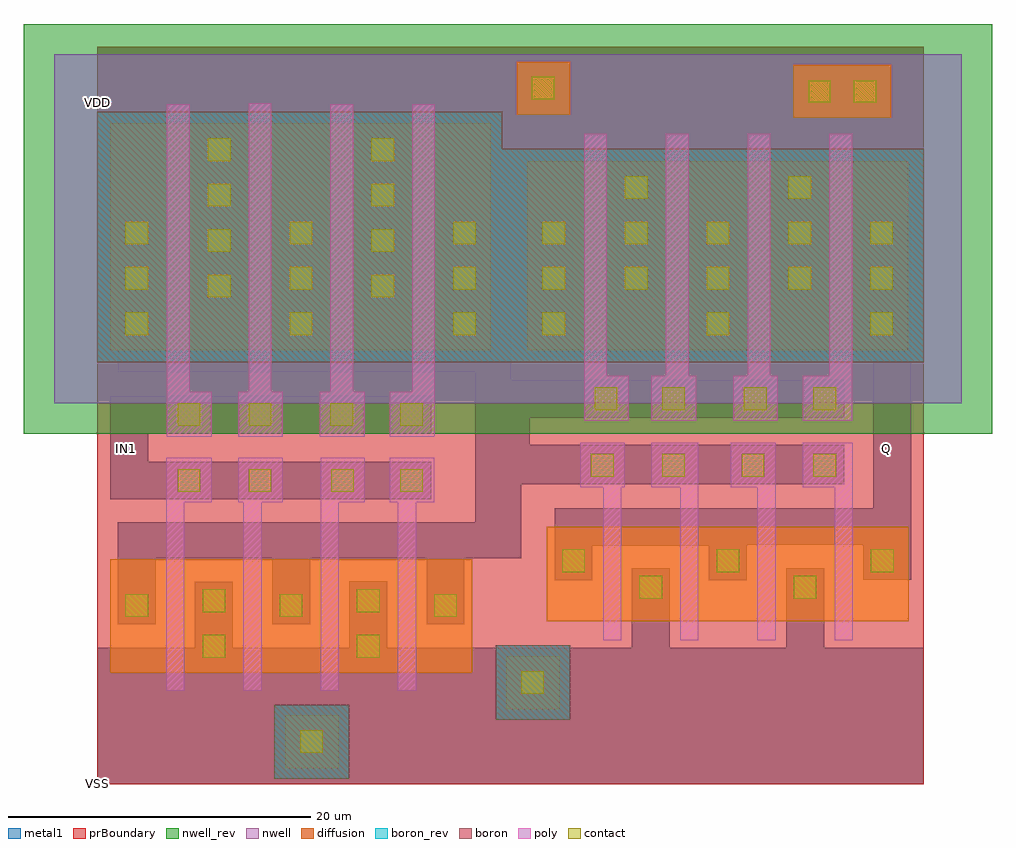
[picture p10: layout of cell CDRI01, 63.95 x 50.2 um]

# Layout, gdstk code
import gdstk
lib = gdstk.Library(unit=1e-6, precision=1e-09)
def R(c, l, rs):  # rectangles x0, y0, x1, y1
    for r in rs: c.add(gdstk.rectangle(r[:2], r[2:], *l))
def A(c, l, x, y, w, h, nx, ny, dx, dy):  # array of equal rectangles
    R(c, l, [(x+i*dx, y+j*dy, x+i*dx+w, y+j*dy+h) for i in range(nx) for j in range(ny)])
def P(c, l, *ps):  # polygons
    for p in ps: c.add(gdstk.Polygon(p, *l))
nwell = (1, 0)
diffusion = (2, 0)
nwell_rev = (3, 0)
poly = (4, 0)
boron = (5, 0)
boron_rev = (6, 0)
contact = (7, 0)
metal1 = (8, 0)
prBoundary = (28, 0)

cdri01 = lib.new_cell('CDRI01')
R(cdri01, nwell, [(-2.85,25.15,57.1,48.2)])
R(cdri01, diffusion, [(12.4,1.05,15.95,4.55), (27,4.95,30.55,8.45), (0.85,7.35,24.75,14.85), (29.7,10.75,53.6,17), (0.85,28.65,26,43.65), (28.4,28.65,53.55,41.15), (45.95,44,52.45,47.5), (27.7,44.2,31.25,47.7)])
R(cdri01, nwell_rev, [(-4.85,23.15,59.1,50.2)])
P(cdri01, poly, [(4.6,22.95),(4.6,44.9),(6.1,44.9),(6.1,25.9),(7.55,25.9),(7.55,22.95)],
  [(48.7,9.5),(48.7,19.6),(46.6,19.6),(46.6,22.55),(49.9,22.55),(49.9,9.5)],
  [(46.6,24),(46.6,26.95),(48.35,26.95),(48.35,42.95),(49.85,42.95),(49.85,24)],
  [(42,24),(42,26.95),(42.95,26.95),(42.95,42.95),(44.45,42.95),(44.45,26.95),(44.95,26.95),(44.95,24)],
  [(43.6,9.5),(43.6,19.6),(41.85,19.6),(41.85,22.55),(44.8,22.55),(44.8,9.5)],
  [(38.5,9.5),(38.5,19.6),(36.6,19.6),(36.6,22.55),(39.7,22.55),(39.7,9.5)],
  [(36.6,24),(36.6,26.95),(37.55,26.95),(37.55,42.95),(39.05,42.95),(39.05,26.95),(39.55,26.95),(39.55,24)],
  [(32.15,24),(32.15,42.95),(33.65,42.95),(33.65,26.95),(35.1,26.95),(35.1,24)],
  [(33.4,9.5),(33.4,19.6),(31.9,19.6),(31.9,22.55),(34.85,22.55),(34.85,19.6),(34.6,19.6),(34.6,9.5)],
  [(19.3,22.95),(19.3,25.9),(20.8,25.9),(20.8,44.9),(22.3,44.9),(22.3,23),(22.25,23),(22.25,22.95)],
  [(19.85,6.15),(19.85,18.6),(19.3,18.6),(19.3,21.55),(22.25,21.55),(22.25,18.6),(21.05,18.6),(21.05,6.15)],
  [(14.7,22.95),(14.7,25.9),(15.4,25.9),(15.4,44.9),(16.9,44.9),(16.9,25.9),(17.65,25.9),(17.65,22.95)],
  [(14.75,6.15),(14.75,21.55),(17.65,21.55),(17.65,18.6),(15.95,18.6),(15.95,6.15)],
  [(9.3,22.95),(9.3,25.9),(10,25.9),(10,44.95),(11.5,44.95),(11.5,25.9),(12.25,25.9),(12.25,22.95)],
  [(9.65,6.15),(9.65,18.6),(9.3,18.6),(9.3,21.55),(12.25,21.55),(12.25,18.6),(10.85,18.6),(10.85,6.15)],
  [(4.55,6.15),(4.55,21.55),(7.55,21.55),(7.55,18.6),(5.75,18.6),(5.75,6.15)])
R(cdri01, boron, [(11.7,0.35,16.65,5.25), (26.3,4.25,31.25,9.15)])
P(cdri01, boron, [(0,27.85),(0,44.4),(26.75,44.4),(26.75,41.95),(54.6,41.95),(54.6,27.85)])
R(cdri01, boron_rev, [(11.7,0.35,16.65,5.25), (26.3,4.25,31.25,9.15)])
P(cdri01, boron_rev, [(0,27.85),(0,44.4),(26.75,44.4),(26.75,41.95),(54.6,41.95),(54.6,27.85)])
A(cdri01, contact, 1.85, 11.05, 1.5, 1.5, 3, 1, 10.2, 0)
A(cdri01, contact, 30.7, 14, 1.5, 1.5, 3, 1, 10.2, 0)
A(cdri01, contact, 1.85, 29.65, 1.5, 1.5, 1, 3, 0, 3)
A(cdri01, contact, 12.7, 29.65, 1.5, 1.5, 1, 3, 0, 3)
A(cdri01, contact, 23.5, 29.65, 1.5, 1.5, 1, 3, 0, 3)
A(cdri01, contact, 29.4, 29.65, 1.5, 1.5, 1, 3, 0, 3)
A(cdri01, contact, 7.3, 32.15, 1.5, 1.5, 1, 4, 0, 3)
A(cdri01, contact, 18.1, 32.15, 1.5, 1.5, 1, 4, 0, 3)
A(cdri01, contact, 34.85, 32.65, 1.5, 1.5, 4, 2, 5.4, 3)
R(cdri01, contact, [(13.4,2.05,14.9,3.55), (28,5.95,29.5,7.45), (6.95,8.35,8.45,9.85), (17.15,8.35,18.65,9.85), (6.95,11.35,8.45,12.85), (17.15,11.35,18.65,12.85), (35.8,12.25,37.3,13.75), (46,12.25,47.5,13.75), (5.3,19.3,6.8,20.8), (10,19.3,11.5,20.8), (15.45,19.3,16.95,20.8), (20,19.3,21.5,20.8), (32.6,20.3,34.1,21.8), (37.3,20.3,38.8,21.8), (42.55,20.3,44.05,21.8), (47.3,20.3,48.8,21.8), (5.3,23.65,6.8,25.15), (10,23.65,11.5,25.15), (15.4,23.65,16.9,25.15), (20,23.65,21.5,25.15), (32.85,24.7,34.35,26.2), (37.3,24.7,38.8,26.2), (42.7,24.7,44.2,26.2), (47.3,24.7,48.8,26.2), (40.25,29.65,41.75,31.15), (51.05,29.65,52.55,31.15), (34.85,38.65,36.35,40.15), (45.65,38.65,47.15,40.15), (46.95,45,48.45,46.5), (49.95,45,51.45,46.5), (28.7,45.2,30.2,46.7)])
A(cdri01, metal1, 0.85, 21, 2.5, 2.5, 3, 1, 25.2, 0)
R(cdri01, metal1, [(0,0,54.6,9), (0,39.7,54.6,48.7)])
P(cdri01, metal1, [(1.35,10.55),(1.35,17.3),(24.95,17.3),(24.95,27.2),(1.35,27.2),(1.35,37.65),(3.85,37.65),(3.85,29.6),(12.2,29.6),(12.2,37.65),(14.7,37.65),(14.7,29.6),(23,29.6),(23,37.65),(25.5,37.65),(25.5,29.7),(27.35,29.7),(27.35,26.7),(49.35,26.7),(49.35,24.2),(28.55,24.2),(28.55,22.4),(49.35,22.4),(49.35,19.8),(28,19.8),(28,14.9),(24.25,14.9),(24.25,10.55),(21.75,10.55),(21.75,14.9),(14.05,14.9),(14.05,10.55),(11.55,10.55),(11.55,14.9),(3.85,14.9),(3.85,10.55)],
  [(6.8,31.65),(6.8,39.7),(0,39.7),(0,48.7),(54.6,48.7),(54.6,39.7),(47.65,39.7),(47.65,32.15),(45.15,32.15),(45.15,39.7),(36.85,39.7),(36.85,32.15),(34.35,32.15),(34.35,39.7),(20.1,39.7),(20.1,31.65),(17.6,31.65),(17.6,39.7),(9.3,39.7),(9.3,31.65)],
  [(0,0),(0,9),(6.45,9),(6.45,13.35),(8.95,13.35),(8.95,9),(16.65,9),(16.65,13.4),(19.15,13.4),(19.15,9),(35.3,9),(35.3,14.25),(37.8,14.25),(37.8,9),(45.5,9),(45.5,14.25),(48,14.25),(48,9),(54.6,9),(54.6,0)],
  [(30.2,13.45),(30.2,18.2),(51.25,18.2),(51.25,28.2),(28.9,28.2),(28.9,37.65),(31.4,37.65),(31.4,30.6),(39.75,30.6),(39.75,37.65),(42.25,37.65),(42.25,30.6),(50.55,30.6),(50.55,37.65),(53.75,37.65),(53.75,13.5),(50.6,13.5),(50.6,15.8),(42.9,15.8),(42.9,13.45),(40.4,13.45),(40.4,15.75),(32.7,15.75),(32.7,13.45)],
  [(0.85,18.8),(0.85,25.65),(22.05,25.65),(22.05,23.15),(3.35,23.15),(3.35,21.3),(22.05,21.3),(22.05,18.8)])
R(cdri01, prBoundary, [(0,0,54.6,48.7)])
cdri01.add(gdstk.Label('VSS', (0.001,0.001), layer=8, texttype=7))
cdri01.add(gdstk.Label('VDD', (0.002,45), layer=8, texttype=7))
cdri01.add(gdstk.Label('Q', (52.1,22.15), layer=8, texttype=7))
cdri01.add(gdstk.Label('IN1', (1.95,22.15), layer=8, texttype=7))

lib.write_gds('CDRI01.gds')
